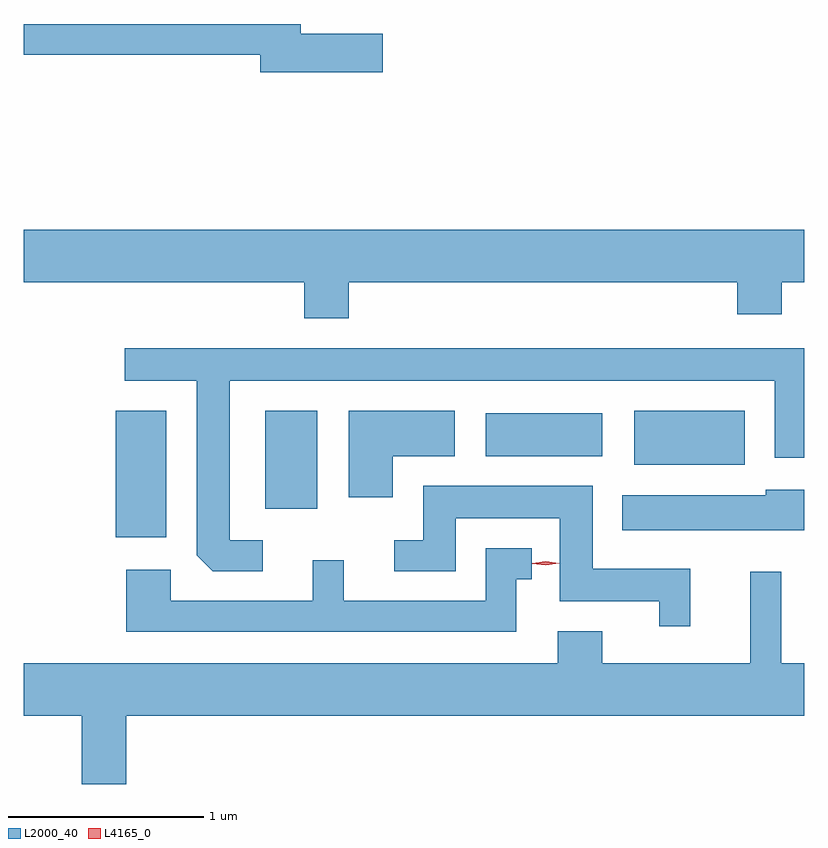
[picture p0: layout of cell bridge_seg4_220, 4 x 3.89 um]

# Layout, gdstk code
import gdstk
lib = gdstk.Library(unit=1e-6, precision=1e-09)
def R(c, l, rs):  # rectangles x0, y0, x1, y1
    for r in rs: c.add(gdstk.rectangle(r[:2], r[2:], *l))
def P(c, l, *ps):  # polygons
    for p in ps: c.add(gdstk.Polygon(p, *l))
L2000_40 = (2000, 40)
L4165_0 = (4165, 0)

bridge_seg4_220 = lib.new_cell('bridge_seg4_220')
R(bridge_seg4_220, L2000_40, [(981.536,1271.231,981.794,1271.879), (982.301,1271.376,982.569,1271.879), (984.191,1271.601,984.759,1271.879), (983.431,1271.646,984.029,1271.864)])
P(bridge_seg4_220, L2000_40, [(982.904,1273.809),(982.484,1273.809),(982.484,1273.859),(981.064,1273.859),(981.064,1273.701),(982.276,1273.701),(982.276,1273.611),(982.904,1273.611)],
  [(982.729,1272.536),(984.721,1272.536),(984.721,1272.371),(984.949,1272.371),(984.949,1272.536),(985.064,1272.536),(985.064,1272.804),(981.064,1272.804),(981.064,1272.536),(982.501,1272.536),(982.501,1272.351),(982.729,1272.351)],
  [(982.288,1271.214),(982.119,1271.214),(982.119,1272.031),(984.911,1272.031),(984.911,1271.636),(985.064,1271.636),(985.064,1272.199),(981.583,1272.199),(981.583,1272.031),(981.951,1272.031),(981.951,1271.137),(982.032,1271.056),(982.288,1271.056)],
  [(982.954,1271.646),(983.274,1271.646),(983.274,1271.879),(982.731,1271.879),(982.731,1271.436),(982.954,1271.436)],
  [(984.479,1271.069),(983.979,1271.069),(983.979,1271.494),(983.111,1271.494),(983.111,1271.214),(982.963,1271.214),(982.963,1271.056),(983.279,1271.056),(983.279,1271.326),(983.811,1271.326),(983.811,1270.901),(984.321,1270.901),(984.321,1270.773),(984.479,1270.773)],
  [(985.064,1271.474),(984.866,1271.474),(984.866,1271.444),(984.131,1271.444),(984.131,1271.266),(985.064,1271.266)],
  [(983.589,1271.016),(983.668,1271.016),(983.668,1271.174),(983.431,1271.174),(983.431,1270.904),(982.704,1270.904),(982.704,1271.113),(982.546,1271.113),(982.546,1270.904),(981.819,1270.904),(981.819,1271.064),(981.591,1271.064),(981.591,1270.746),(983.589,1270.746)],
  [(981.589,1270.316),(985.064,1270.316),(985.064,1270.584),(984.944,1270.584),(984.944,1271.053),(984.786,1271.053),(984.786,1270.584),(984.029,1270.584),(984.029,1270.749),(983.801,1270.749),(983.801,1270.584),(981.064,1270.584),(981.064,1270.316),(981.361,1270.316),(981.361,1269.966),(981.589,1269.966)])
P(bridge_seg4_220, L4165_0, [(983.738,1271.086),(983.669,1271.095),(983.669,1271.096),(983.669,1271.096),(983.738,1271.106),(983.808,1271.097),(983.808,1271.096),(983.808,1271.096)])

lib.write_gds('bridge_seg4_220.gds')
